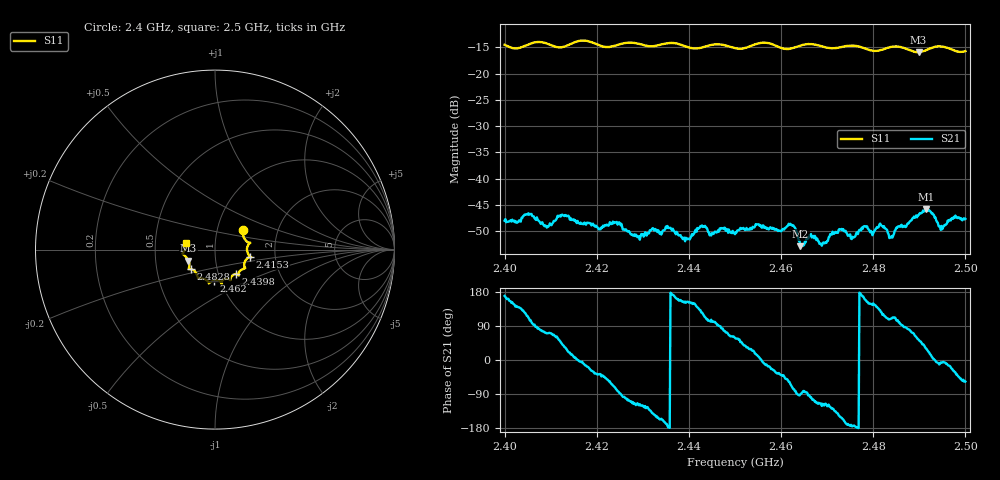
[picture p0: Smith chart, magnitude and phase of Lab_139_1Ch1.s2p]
# Hz S RI R 50
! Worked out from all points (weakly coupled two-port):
!   601 points, 2.4 GHz to 2.5 GHz, reference 50 ohm
!   highest |S21| = -45.86 dB at 2.4915 GHz (marker M1); lowest = -52.9 dB at 2.4642 GHz (marker M2)
!   lowest |S11| = -15.9 dB at 2.4898 GHz (marker M3), VSWR 1.38, Z = 36.9 - j4.65 ohm
!   |S11| at or under -10 dB: start of sweep to end of sweep
!   S12 and S22 are empty: the file has one direction only
!   S11 on the Smith chart (normalised r, x): 2.4 GHz: 1.33, +0.30; 2.4153 GHz: 1.48, -0.12; 2.4398 GHz: 1.21, -0.34; 2.462 GHz: 0.93, -0.33; 2.4828 GHz: 0.74, -0.17; 2.5 GHz: 0.72, +0.06
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2.4e9  0.155 0.1073  -0.0039 0.000754  0 0  0 0
2.415333e9  0.1965 -0.039  0.004 0.000482  0 0  0 0
2.416667e9  0.2025 -0.0428  0.0037 -0.000377  0 0  0 0
2.4245e9  0.1636 -0.0925  0.000521 -0.00361  0 0  0 0
2.429e9  0.1619 -0.1059  -0.00131 -0.00248  0 0  0 0
2.433333e9  0.1304 -0.1337  -0.00285 -0.00151  0 0  0 0
2.439833e9  0.1155 -0.1357  -0.0024 0.00119  0 0  0 0
2.443e9  0.0891 -0.1547  -0.00186 0.00292  0 0  0 0
2.45e9  0.0653 -0.1626  0.00155 0.00252  0 0  0 0
2.462e9  -0.00506 -0.1729  0.00165 -0.00332  0 0  0 0
2.464167e9  -0.0285 -0.183  -2.23e-05 -0.00227  0 0  0 0
2.466667e9  -0.0344 -0.1882  -0.000555 -0.00269  0 0  0 0
2.468833e9  -0.0388 -0.178  -0.00119 -0.00196  0 0  0 0
2.473e9  -0.0803 -0.1601  -0.00289 -0.00155  0 0  0 0
2.475667e9  -0.0941 -0.1592  -0.00273 -0.00032  0 0  0 0
2.478167e9  -0.0992 -0.143  -0.00332 0.0012  0 0  0 0
2.482833e9  -0.1363 -0.1093  -0.00123 0.00306  0 0  0 0
2.483333e9  -0.1402 -0.109  -0.000872 0.00283  0 0  0 0
2.489833e9  -0.1479 -0.0614  0.00264 0.0036  0 0  0 0
2.4915e9  -0.1629 -0.0394  0.00441 0.00256  0 0  0 0
2.494667e9  -0.1808 -0.0207  0.00323 -0.000359  0 0  0 0
2.5e9  -0.1593 0.0388  0.00226 -0.00347  0 0  0 0
